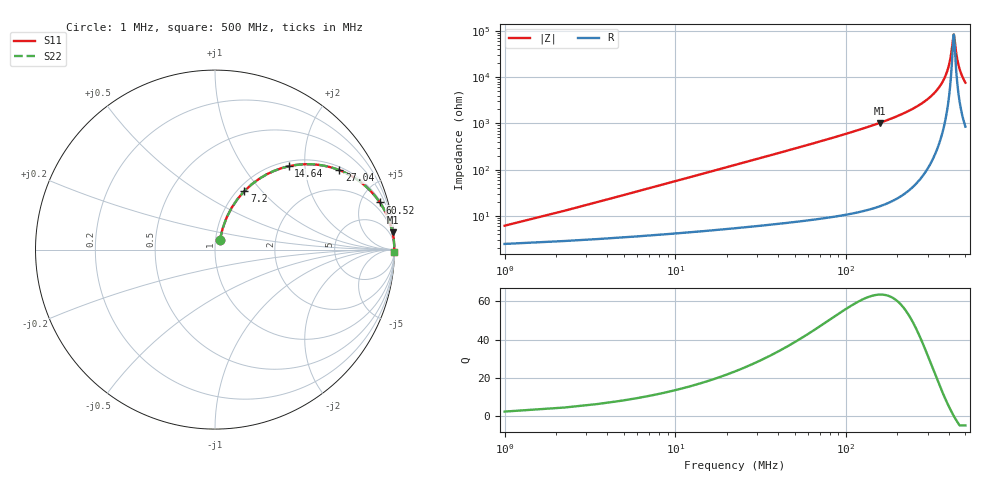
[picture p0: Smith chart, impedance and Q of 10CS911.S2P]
! Coilcraft 1008CS-911 Chip Inductor
! 02 July 2002
# MHZ S MA R 50
!Freq  MagS11  AngS11  MagS21  AngS21  MagS12  AngS12  MagS22  AngS22
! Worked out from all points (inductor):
!   404 points, 1 MHz to 500 MHz, reference 50 ohm
!   read as one part in series: L = 895 nH near 3.48 MHz
!   highest Q = 63.6 at 157.2 MHz (marker M1), where L = 1.04 uH
!   self-resonance near 426.3 MHz
!   S11 on the Smith chart (normalised r, x): 1 MHz: 1.05, +0.11; 7.2 MHz: 1.08, +0.81; 14.64 MHz: 1.09, +1.65; 27.04 MHz: 1.12, +3.05; 60.52 MHz: 1.16, +6.95; 500 MHz: open
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1  0.05988 63.1  0.9743 -3.1  0.9743 -3.1  0.05988 63.1
4.72  0.2507 68.3  0.9368 -14.4  0.9368 -14.4  0.2507 68.3
7.2  0.3651 63.3  0.8975 -21.3  0.8975 -21.3  0.3651 63.3
14.64  0.6196 48.5  0.7505 -38.2  0.7505 -38.2  0.6196 48.5
27.04  0.8225 32.5  0.5384 -55.3  0.5384 -55.3  0.8225 32.5
40.68  0.908 23.1  0.3932 -65.2  0.3932 -65.2  0.908 23.1
60.52  0.9551 16.0  0.2749 -72.7  0.2749 -72.7  0.9551 16.0
85.32  0.977 11.3  0.1955 -77.6  0.1955 -77.6  0.977 11.3
157.24  0.9937 5.6  0.09716 -83.5  0.09716 -83.5  0.9937 5.6
168.4  0.9947 5.1  0.08872 -84.0  0.08872 -84.0  0.9947 5.1
251.48  0.998 2.6  0.04613 -86.2  0.04613 -86.2  0.998 2.6
334.56  0.9988 1.2  0.02057 -86.1  0.02057 -86.1  0.9988 1.2
365.56  0.9989 0.7  0.01308 -84.8  0.01308 -84.8  0.9989 0.7
389.12  0.9989 0.4  0.007882 -81.7  0.007882 -81.7  0.9989 0.4
405.24  0.9989 0.3  0.004567 -75.5  0.004567 -75.5  0.9989 0.3
417.64  0.9988 0.1  0.002245 -58.7  0.002245 -58.7  0.9988 0.1
425.08  0.9988 0.0  0.001271 -20.8  0.001271 -20.8  0.9988 0.0
428.8  0.9988 -0.0  0.00123 12.7  0.00123 12.7  0.9988 -0.0
443.68  0.9987 -0.2  0.003348 67.9  0.003348 67.9  0.9987 -0.2
456.08  0.9987 -0.3  0.00555 76.2  0.00555 76.2  0.9987 -0.3
474.68  0.9986 -0.5  0.008834 80.6  0.008834 80.6  0.9986 -0.5
500  0.9984 -0.7  0.01316 82.8  0.01316 82.8  0.9984 -0.7
